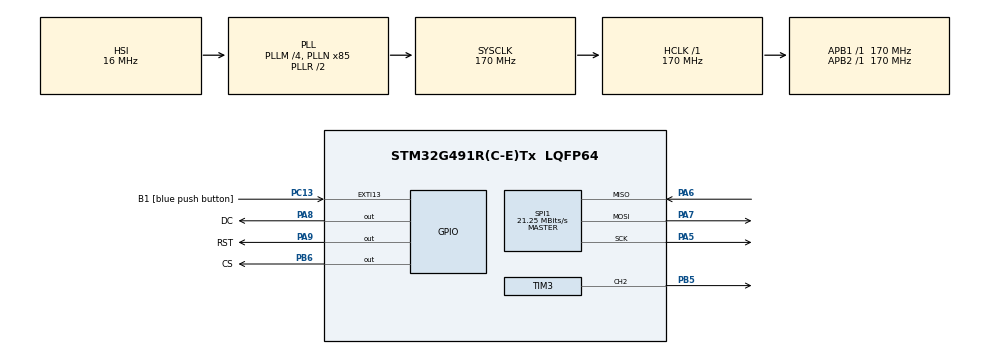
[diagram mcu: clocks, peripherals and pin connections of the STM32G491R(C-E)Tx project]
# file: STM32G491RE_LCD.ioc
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Mcu.Family=STM32G4
Mcu.Name=STM32G491R(C-E)Tx
Mcu.Package=LQFP64
NVIC.EXTI15_10_IRQn=true\:0\:0\:false\:true\:true\:2\:true\:true\:true
NVIC.FPU_IRQn=true\:0\:0\:false\:true\:true\:1\:true\:false\:true
NVIC.PriorityGroup=NVIC_PRIORITYGROUP_4
PA13.GPIO_Label=TMS
PA13.Mode=Trace_Asynchronous_SW
PA13.Signal=SYS_JTMS-SWDIO
PA14.GPIO_Label=TCK
PA14.Mode=Trace_Asynchronous_SW
PA14.Signal=SYS_JTCK-SWCLK
PA2.GPIO_Label=LPUART1_TX [STLINKV3E_VCP_RX]
PA2.Signal=LPUART1_TX
PA3.GPIO_Label=LPUART1_RX [STLINKV3E_VCP_TX]
PA3.Signal=LPUART1_RX
PA5.Mode=Full_Duplex_Master
PA5.Signal=SPI1_SCK
PA6.Mode=Full_Duplex_Master
PA6.Signal=SPI1_MISO
PA7.Mode=Full_Duplex_Master
PA7.Signal=SPI1_MOSI
PA8.GPIO_Label=DC
PA8.Signal=GPIO_Output
PA9.GPIO_Label=RST
PA9.Signal=GPIO_Output
PB3.Mode=Trace_Asynchronous_SW
PB3.Signal=SYS_JTDO-SWO
PB5.Signal=S_TIM3_CH2
PB6.GPIO_Label=CS
PB6.Signal=GPIO_Output
PC13.GPIO_Label=B1 [blue push button]
PC13.Signal=GPXTI13
PC14-OSC32_IN.GPIO_Label=RCC_OSC32_IN
PC14-OSC32_IN.Mode=LSE-External-Oscillator
PC14-OSC32_IN.Signal=RCC_OSC32_IN
PC15-OSC32_OUT.GPIO_Label=RCC_OSC32_OUT
PC15-OSC32_OUT.Mode=LSE-External-Oscillator
PC15-OSC32_OUT.Signal=RCC_OSC32_OUT
PF0-OSC_IN.GPIO_Label=RCC_OSC_IN
PF0-OSC_IN.Mode=HSE-External-Oscillator
PF0-OSC_IN.Signal=RCC_OSC_IN
PF1-OSC_OUT.GPIO_Label=RCC_OSC_OUT
PF1-OSC_OUT.Mode=HSE-External-Oscillator
PF1-OSC_OUT.Signal=RCC_OSC_OUT
ProjectManager.HeapSize=0x200
ProjectManager.StackSize=0x400
ProjectManager.TargetToolchain=STM32CubeIDE
RCC.ADC12Freq_Value=170000000
RCC.ADC345Freq_Value=170000000
RCC.AHBFreq_Value=170000000
RCC.APB1Freq_Value=170000000
RCC.APB1TimFreq_Value=170000000
RCC.APB2Freq_Value=170000000
RCC.APB2TimFreq_Value=170000000
RCC.CortexFreq_Value=170000000
RCC.EXTERNAL_CLOCK_VALUE=12288000
RCC.HCLKFreq_Value=170000000
RCC.HSE_VALUE=24000000
RCC.HSI48_VALUE=48000000
RCC.HSI_VALUE=16000000
RCC.PLLM=RCC_PLLM_DIV4
RCC.PLLN=85
RCC.RTCClockSelection=RCC_RTCCLKSOURCE_LSE
RCC.SYSCLKFreq_VALUE=170000000
RCC.SYSCLKSource=RCC_SYSCLKSOURCE_PLLCLK
RCC.USBFreq_Value=48000000
RCC.VCOOutputFreq_Value=340000000
SH.S_TIM3_CH2.0=TIM3_CH2,PWM Generation2 CH2
SPI1.BaudRatePrescaler=SPI_BAUDRATEPRESCALER_8
SPI1.CalculateBaudRate=21.25 MBits/s
SPI1.DataSize=SPI_DATASIZE_8BIT
SPI1.Direction=SPI_DIRECTION_2LINES
SPI1.Mode=SPI_MODE_MASTER
SPI1.VirtualType=VM_MASTER
TIM3.Channel-PWM\ Generation2\ CH2=TIM_CHANNEL_2
VP_SYS_VS_DBSignals.Mode=DisableDeadBatterySignals
board=NUCLEO-G491RE

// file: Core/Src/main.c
/* USER CODE BEGIN Header */
/**
  ******************************************************************************
  * @file           : main.c
  * @brief          : Main program body
  ******************************************************************************
  * @attention
  *
  * Copyright (c) 2024 STMicroelectronics.
  * All rights reserved.
  *
  * This software is licensed under terms that can be found in the LICENSE file
  * in the root directory of this software component.
  * If no LICENSE file comes with this software, it is provided AS-IS.
  *
  ******************************************************************************
  */
/* USER CODE END Header */
#include "main.h"
#include "spi.h"
#include "tim.h"
#include "gpio.h"

/* USER CODE BEGIN Includes */
#include "string.h"

#include "GUI_Paint.h"
#include "fonts.h"
#include "image.h"
#include "LCD_Test.h"
#include "DEV_Config.h"
#include "LCD_2inch4.h"
/* USER CODE END Includes */

void SystemClock_Config(void);
static void MX_NVIC_Init(void);

/* USER CODE BEGIN 0 */
void initLCD()
{
	DEV_Module_Init();

	LCD_2IN4_Init();

	Paint_NewImage(LCD_2IN4_WIDTH,LCD_2IN4_HEIGHT, ROTATE_0, WHITE);

	Paint_SetClearFuntion(LCD_2IN4_Clear);
	Paint_SetDisplayFuntion(LCD_2IN4_DrawPaint);
	Paint_Clear(BG);
}

/* USER CODE END 0 */

int main(void)
{

  /* MCU Configuration--------------------------------------------------------*/

  /* Reset of all peripherals, Initializes the Flash interface and the Systick. */
  HAL_Init();

  /* Configure the system clock */
  SystemClock_Config();

  /* Initialize all configured peripherals */
  MX_GPIO_Init();
  MX_TIM3_Init();
  MX_SPI1_Init();

  /* Initialize interrupts */
  MX_NVIC_Init();
  /* USER CODE BEGIN 2 */
  initLCD();

  char scoreText[50]; // Score output
  sprintf(scoreText, "Score: %d", 12); // Format Score string
  Paint_DrawString_EN(45, 174, scoreText, &Font24, BLACK, WHITE);
  /* USER CODE END 2 */

  /* Infinite loop */
  while (1)
  {

  }
}

void SystemClock_Config(void)
{
  RCC_OscInitTypeDef RCC_OscInitStruct = {0};
  RCC_ClkInitTypeDef RCC_ClkInitStruct = {0};

  /** Configure the main internal regulator output voltage
  */
  HAL_PWREx_ControlVoltageScaling(PWR_REGULATOR_VOLTAGE_SCALE1_BOOST);

  /** Initializes the RCC Oscillators according to the specified parameters
  * in the RCC_OscInitTypeDef structure.
  */
  RCC_OscInitStruct.OscillatorType = RCC_OSCILLATORTYPE_HSI;
  RCC_OscInitStruct.HSIState = RCC_HSI_ON;
  RCC_OscInitStruct.HSICalibrationValue = RCC_HSICALIBRATION_DEFAULT;
  RCC_OscInitStruct.PLL.PLLState = RCC_PLL_ON;
  RCC_OscInitStruct.PLL.PLLSource = RCC_PLLSOURCE_HSI;
  RCC_OscInitStruct.PLL.PLLM = RCC_PLLM_DIV4;
  RCC_OscInitStruct.PLL.PLLN = 85;
  RCC_OscInitStruct.PLL.PLLP = RCC_PLLP_DIV2;
  RCC_OscInitStruct.PLL.PLLQ = RCC_PLLQ_DIV2;
  RCC_OscInitStruct.PLL.PLLR = RCC_PLLR_DIV2;
  if (HAL_RCC_OscConfig(&RCC_OscInitStruct) != HAL_OK)
  {
    Error_Handler();
  }

  /** Initializes the CPU, AHB and APB buses clocks
  */
  RCC_ClkInitStruct.ClockType = RCC_CLOCKTYPE_HCLK|RCC_CLOCKTYPE_SYSCLK
                              |RCC_CLOCKTYPE_PCLK1|RCC_CLOCKTYPE_PCLK2;
  RCC_ClkInitStruct.SYSCLKSource = RCC_SYSCLKSOURCE_PLLCLK;
  RCC_ClkInitStruct.AHBCLKDivider = RCC_SYSCLK_DIV1;
  RCC_ClkInitStruct.APB1CLKDivider = RCC_HCLK_DIV1;
  RCC_ClkInitStruct.APB2CLKDivider = RCC_HCLK_DIV1;

  if (HAL_RCC_ClockConfig(&RCC_ClkInitStruct, FLASH_LATENCY_4) != HAL_OK)
  {
    Error_Handler();
  }
}

/**
  * @brief NVIC Configuration.
  * @retval None
  */
static void MX_NVIC_Init(void)
{
  /* FPU_IRQn interrupt configuration */
  HAL_NVIC_SetPriority(FPU_IRQn, 0, 0);
  HAL_NVIC_EnableIRQ(FPU_IRQn);
  /* EXTI15_10_IRQn interrupt configuration */
  HAL_NVIC_SetPriority(EXTI15_10_IRQn, 0, 0);
  HAL_NVIC_EnableIRQ(EXTI15_10_IRQn);
}

void Error_Handler(void)
{
  __disable_irq();
  while (1)
  {
  }
}
